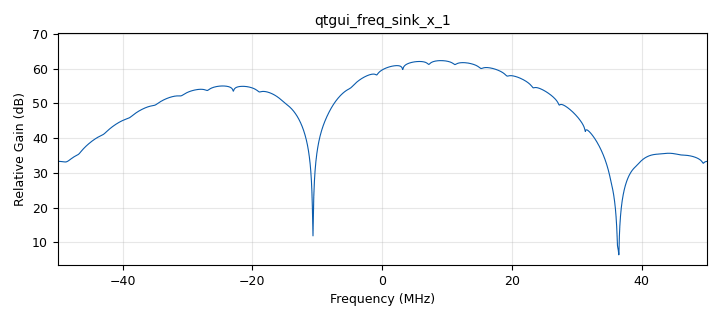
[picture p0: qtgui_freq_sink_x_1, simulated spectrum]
options:
  parameters:
    generate_options: qt_gui
    id: chirp
    output_language: python
    title: Not titled yet
  states: {}

blocks:
- name: chirp_bw
  id: variable_qtgui_range
  parameters:
    outputmsgname: value
    showports: 'False'
    start: '10000'
    step: '5'
    stop: '20000000'
    value: '2000000'
  states: {}
- name: chirp_rate
  id: variable_qtgui_range
  parameters:
    outputmsgname: value
    showports: 'False'
    start: '1'
    step: '1'
    stop: '10000'
    value: '2'
  states: {}
- name: doppler_shift
  id: variable_qtgui_range
  parameters:
    outputmsgname: value
    rangeType: int
    showports: 'False'
    start: '-1000000'
    step: '1'
    stop: '1000000'
    value: '0'
  states: {}
- name: fft_size
  id: variable
  parameters:
    value: '4096'
  states: {}
- name: rx_delay
  id: variable_qtgui_range
  parameters:
    outputmsgname: value
    rangeType: int
    showports: 'False'
    start: '10000000'
    step: '1'
    stop: '100000000'
    value: '50000000'
  states: {}
- name: rx_delay
  id: variable
  parameters:
    value: '14000000'
  states: {state: disabled}
- name: samp_rate
  id: variable
  parameters:
    value: '100000000'
  states: {state: disabled}
- name: samp_rate
  id: variable_qtgui_range
  parameters:
    outputmsgname: value
    showports: 'False'
    start: '2000000'
    step: '1'
    stop: '100000000'
    value: '50000000'
  states: {}
- name: analog_frequency_modulator_fc_0
  id: analog_frequency_modulator_fc
  parameters:
    sensitivity: '6'
  states: {state: disabled}
- name: analog_sig_source_x_0_1
  id: analog_sig_source_x
  parameters:
    amp: '1'
    freq: '20000000'
    offset: '0'
    phase: '0'
    samp_rate: samp_rate
    type: float
    waveform: analog.GR_SAW_WAVE
  states: {state: disabled}
- name: analog_sig_source_x_1
  id: analog_sig_source_x
  parameters:
    amp: chirp_bw
    freq: chirp_rate
    offset: '0'
    phase: '0'
    samp_rate: samp_rate
    type: float
    waveform: analog.GR_SAW_WAVE
  states: {}
- name: blocks_complex_to_mag_0
  id: blocks_complex_to_mag
  parameters: {}
  states: {state: disabled}
- name: blocks_complex_to_mag_1
  id: blocks_complex_to_mag
  parameters: {}
  states: {state: disabled}
- name: blocks_complex_to_mag_squared_0
  id: blocks_complex_to_mag_squared
  parameters: {}
  states: {state: disabled}
- name: blocks_complex_to_mag_squared_0_0
  id: blocks_complex_to_mag_squared
  parameters: {}
  states: {state: disabled}
- name: blocks_delay_0
  id: blocks_delay
  parameters:
    delay: rx_delay
    type: complex
  states: {}
- name: blocks_freqshift_cc_0
  id: blocks_freqshift_cc
  parameters:
    freq: doppler_shift
    sample_rate: samp_rate
  states: {}
- name: blocks_integrate_xx_0
  id: blocks_integrate_xx
  parameters:
    decim: '500'
    type: complex
    vlen: fft_size
  states: {}
- name: blocks_multiply_conjugate_cc_0
  id: blocks_multiply_conjugate_cc
  parameters:
    vlen: fft_size
  states: {}
- name: blocks_nlog10_ff_0
  id: blocks_nlog10_ff
  parameters:
    k: '0'
    n: '20'
  states: {state: disabled}
- name: blocks_nlog10_ff_0_0
  id: blocks_nlog10_ff
  parameters:
    k: '0'
    n: '20'
  states: {state: disabled}
- name: blocks_stream_to_vector_0
  id: blocks_stream_to_vector
  parameters:
    num_items: fft_size
    type: complex
  states: {}
- name: blocks_stream_to_vector_0_0
  id: blocks_stream_to_vector
  parameters:
    num_items: fft_size
    type: complex
  states: {}
- name: blocks_stream_to_vector_1
  id: blocks_stream_to_vector
  parameters:
    num_items: fft_size
    type: complex
  states: {state: disabled}
- name: blocks_throttle_0
  id: blocks_throttle
  parameters:
    samples_per_second: samp_rate
    type: float
  states: {state: disabled}
- name: blocks_throttle_1
  id: blocks_throttle
  parameters:
    samples_per_second: samp_rate
    type: float
  states: {}
- name: blocks_vco_c_0
  id: blocks_vco_c
  parameters:
    amplitude: '1'
    samp_rate: samp_rate
    sensitivity: '1'
  states: {}
- name: blocks_vector_to_stream_0
  id: blocks_vector_to_stream
  parameters:
    num_items: fft_size
    type: complex
  states: {state: disabled}
- name: blocks_vector_to_stream_0_0
  id: blocks_vector_to_stream
  parameters:
    num_items: fft_size
    type: complex
  states: {state: disabled}
- name: blocks_vector_to_stream_1
  id: blocks_vector_to_stream
  parameters:
    num_items: fft_size
    type: complex
  states: {state: disabled}
- name: blocks_vector_to_stream_1_0
  id: blocks_vector_to_stream
  parameters:
    num_items: fft_size
    type: complex
  states: {}
- name: fft_vxx_0
  id: fft_vxx
  parameters:
    fft_size: fft_size
    forward: 'True'
    nthreads: '2'
    shift: 'True'
    type: complex
    window: window.blackmanharris(fft_size)
  states: {}
- name: fft_vxx_1
  id: fft_vxx
  parameters:
    fft_size: fft_size
    forward: 'True'
    nthreads: '2'
    shift: 'True'
    type: complex
    window: window.blackmanharris(fft_size)
  states: {}
- name: fft_vxx_2
  id: fft_vxx
  parameters:
    fft_size: fft_size
    forward: 'False'
    nthreads: '2'
    shift: 'True'
    type: complex
    window: window.blackmanharris(fft_size)
  states: {state: disabled}
- name: qtgui_freq_sink_x_0
  id: qtgui_freq_sink_x
  parameters:
    autoscale: 'True'
    average: '0.1'
    bw: samp_rate
    fc: '0'
    fftsize: '8192'
    name: '"Freq Domain pre IFFT"'
    type: float
  states: {state: disabled}
- name: qtgui_freq_sink_x_0_0
  id: qtgui_freq_sink_x
  parameters:
    autoscale: 'True'
    average: '0.1'
    bw: samp_rate
    fc: '0'
    fftsize: '16384'
    name: '"Frequency domain post IFFT"'
    type: complex
    ymax: '300'
    ymin: '-50'
  states: {state: disabled}
- name: qtgui_freq_sink_x_0_0_0
  id: qtgui_freq_sink_x
  parameters:
    average: '0.1'
    bw: samp_rate
    fc: '0'
    fftsize: '8192'
    name: '"20log10(|fft|^2) pre IFFT"'
    type: float
    ymax: '300'
    ymin: '-50'
  states: {state: disabled}
- name: qtgui_freq_sink_x_1
  id: qtgui_freq_sink_x
  parameters:
    autoscale: 'True'
    average: '0.2'
    bw: samp_rate*2
    ctrlpanel: 'True'
    fc: '0'
    fftsize: '4096'
    norm_window: 'True'
    type: complex
    update_time: '0.05'
  states: {}
- name: qtgui_time_sink_x_0
  id: qtgui_time_sink_x
  parameters:
    ctrlpanel: 'True'
    name: '"TX Time Domain"'
    size: '4096'
    srate: samp_rate
    tr_mode: qtgui.TRIG_MODE_NORM
    type: complex
    update_time: '0.01'
  states: {state: disabled}
- name: qtgui_time_sink_x_0_0
  id: qtgui_time_sink_x
  parameters:
    size: '4096'
    srate: samp_rate
    type: complex
  states: {state: disabled}
- name: qtgui_time_sink_x_1
  id: qtgui_time_sink_x
  parameters:
    autoscale: 'True'
    ctrlpanel: 'True'
    name: '"Time Domain pre IFFT"'
    size: fft_size
    srate: samp_rate
    tr_delay: '0.0'
    type: float
    update_time: '0.01'
    ymax: '100'
  states: {state: disabled}
- name: qtgui_time_sink_x_2
  id: qtgui_time_sink_x
  parameters:
    autoscale: 'True'
    ctrlpanel: 'True'
    name: '"IFFT Time"'
    size: fft_size
    srate: samp_rate
    tr_level: 6e6
    tr_mode: qtgui.TRIG_MODE_AUTO
    type: float
    update_time: '0.02'
    ylabel: Power
    ymax: 1e7
    yunit: '"dB"'
  states: {state: disabled}
- name: qtgui_time_sink_x_2_0
  id: qtgui_time_sink_x
  parameters:
    autoscale: 'True'
    ctrlpanel: 'True'
    name: '"IFFT Time Mag"'
    size: fft_size
    srate: samp_rate
    tr_level: 6e6
    tr_mode: qtgui.TRIG_MODE_AUTO
    type: complex
    update_time: '0.02'
    ymax: 1e7
  states: {state: disabled}
- name: qtgui_waterfall_sink_x_0
  id: qtgui_waterfall_sink_x
  parameters:
    bw: samp_rate
    fc: '0'
    fftsize: '4096'
    type: complex
    wintype: window.WIN_BLACKMAN
  states: {state: disabled}
- name: qtgui_waterfall_sink_x_0_0
  id: qtgui_waterfall_sink_x
  parameters:
    bw: samp_rate
    fc: '0'
    fftsize: '8192'
    name: '"TX Freq Domain"'
    type: complex
    update_time: '0.02'
    wintype: window.WIN_BLACKMAN
  states: {state: disabled}
- name: qtgui_waterfall_sink_x_1
  id: qtgui_waterfall_sink_x
  parameters:
    bw: samp_rate
    fc: '0'
    fftsize: '8192'
    int_max: '30'
    int_min: '-70'
    name: '"Cross correlation of TX with delayed RX"'
    type: complex
    update_time: '0.02'
  states: {state: disabled}
- name: qtgui_waterfall_sink_x_1_0
  id: qtgui_waterfall_sink_x
  parameters:
    bw: samp_rate
    fc: '0'
    fftsize: '8192'
    int_max: '30'
    int_min: '-120'
    name: '"Multiply Conj Waterfall"'
    type: float
    update_time: '0.02'
  states: {state: disabled}

connections:
- [analog_frequency_modulator_fc_0, '0', qtgui_time_sink_x_0_0, '0']
- [analog_frequency_modulator_fc_0, '0', qtgui_waterfall_sink_x_0, '0']
- [analog_sig_source_x_0_1, '0', blocks_throttle_0, '0']
- [analog_sig_source_x_1, '0', blocks_throttle_1, '0']
- [blocks_complex_to_mag_0, '0', qtgui_freq_sink_x_0, '0']
- [blocks_complex_to_mag_0, '0', qtgui_time_sink_x_1, '0']
- [blocks_complex_to_mag_0, '0', qtgui_waterfall_sink_x_1_0, '0']
- [blocks_complex_to_mag_1, '0', qtgui_time_sink_x_2, '0']
- [blocks_complex_to_mag_1, '0', qtgui_time_sink_x_2_0, '0']
- [blocks_complex_to_mag_squared_0, '0', blocks_nlog10_ff_0, '0']
- [blocks_complex_to_mag_squared_0, '0', qtgui_time_sink_x_2, '0']
- [blocks_complex_to_mag_squared_0_0, '0', blocks_nlog10_ff_0_0, '0']
- [blocks_complex_to_mag_squared_0_0, '0', qtgui_freq_sink_x_0, '0']
- [blocks_complex_to_mag_squared_0_0, '0', qtgui_time_sink_x_1, '0']
- [blocks_delay_0, '0', blocks_freqshift_cc_0, '0']
- [blocks_freqshift_cc_0, '0', blocks_stream_to_vector_0_0, '0']
- [blocks_integrate_xx_0, '0', blocks_vector_to_stream_1_0, '0']
- [blocks_integrate_xx_0, '0', fft_vxx_2, '0']
- [blocks_multiply_conjugate_cc_0, '0', blocks_complex_to_mag_0, '0']
- [blocks_multiply_conjugate_cc_0, '0', blocks_complex_to_mag_squared_0_0, '0']
- [blocks_multiply_conjugate_cc_0, '0', blocks_integrate_xx_0, '0']
- [blocks_multiply_conjugate_cc_0, '0', blocks_stream_to_vector_1, '0']
- [blocks_nlog10_ff_0, '0', qtgui_freq_sink_x_0_0, '0']
- [blocks_nlog10_ff_0_0, '0', qtgui_freq_sink_x_0_0_0, '0']
- [blocks_stream_to_vector_0, '0', fft_vxx_0, '0']
- [blocks_stream_to_vector_0_0, '0', fft_vxx_1, '0']
- [blocks_stream_to_vector_1, '0', blocks_integrate_xx_0, '0']
- [blocks_throttle_0, '0', analog_frequency_modulator_fc_0, '0']
- [blocks_throttle_1, '0', blocks_vco_c_0, '0']
- [blocks_vco_c_0, '0', blocks_delay_0, '0']
- [blocks_vco_c_0, '0', blocks_stream_to_vector_0, '0']
- [blocks_vco_c_0, '0', qtgui_time_sink_x_0, '0']
- [blocks_vco_c_0, '0', qtgui_waterfall_sink_x_0_0, '0']
- [blocks_vector_to_stream_0, '0', blocks_multiply_conjugate_cc_0, '0']
- [blocks_vector_to_stream_0_0, '0', blocks_multiply_conjugate_cc_0, '1']
- [blocks_vector_to_stream_1, '0', blocks_complex_to_mag_1, '0']
- [blocks_vector_to_stream_1, '0', blocks_complex_to_mag_squared_0, '0']
- [blocks_vector_to_stream_1, '0', qtgui_freq_sink_x_0_0, '0']
- [blocks_vector_to_stream_1, '0', qtgui_time_sink_x_2_0, '0']
- [blocks_vector_to_stream_1, '0', qtgui_waterfall_sink_x_1, '0']
- [blocks_vector_to_stream_1_0, '0', qtgui_freq_sink_x_1, '0']
- [fft_vxx_0, '0', blocks_multiply_conjugate_cc_0, '0']
- [fft_vxx_0, '0', blocks_vector_to_stream_0, '0']
- [fft_vxx_1, '0', blocks_multiply_conjugate_cc_0, '1']
- [fft_vxx_1, '0', blocks_vector_to_stream_0_0, '0']
- [fft_vxx_2, '0', blocks_vector_to_stream_1, '0']

metadata:
  file_format: 1
  grc_version: 3.10.4.0
